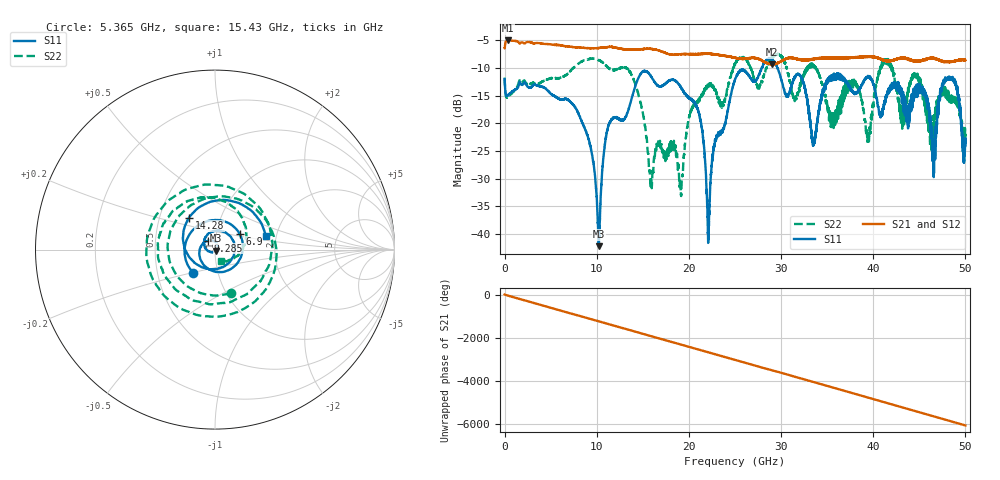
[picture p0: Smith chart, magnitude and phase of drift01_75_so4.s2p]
!Created with skrf (http://scikit-rf.org).
# Hz S RI R 50.0
!freq ReS11 ImS11 ReS21 ImS21 ReS12 ImS12 ReS22 ImS22
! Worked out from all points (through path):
!   10001 points, 300 kHz to 50 GHz, reference 50 ohm
!   highest |S21| = -5.05 dB at 325.3 MHz (marker M1); lowest = -9.4 dB at 28.97 GHz (marker M2)
!   group delay of S21, straight-line fit = 336 ps
!   lowest |S11| = -42.2 dB at 10.22 GHz (marker M3), VSWR 1.02, Z = 50.5 - j0.563 ohm
!   |S11| at or under -10 dB: start of sweep to 27.9 GHz; 29.59489 GHz to 29.59563 GHz (740.9 kHz wide, 0.0025 % of centre); 29.6 GHz to end of sweep
!   |S22| runs from -33.2 to -7.4 dB; largest |S21 - S12| = 0.016
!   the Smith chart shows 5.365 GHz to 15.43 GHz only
!   S11 on the Smith chart (normalised r, x): 5.365 GHz: 0.76, -0.20; 6.9 GHz: 1.29, +0.23; 9.285 GHz: 0.92, +0.09; 14.28 GHz: 0.71, +0.26; 15.43 GHz: 1.76, +0.28
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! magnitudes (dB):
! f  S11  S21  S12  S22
! 300 kHz  -12.1  -6.5  -6.6  -11.8
! 325.3 MHz  -15.0  -5.1  -5.1  -15.3
! 5.365 GHz  -15.0  -5.8  -5.8  -11.8
! 6.9 GHz  -15.8  -6.1  -6.1  -11.0
! 8.335 GHz  -19.5  -6.3  -6.3  -8.9
! 9.285 GHz  -24.0  -6.4  -6.4  -8.4
! 10.22 GHz  -42.2  -6.4  -6.4  -8.6
! 11.23 GHz  -20.7  -6.2  -6.2  -9.9
! 14.28 GHz  -12.8  -6.7  -6.7  -13.4
! 15.43 GHz  -10.7  -6.5  -6.6  -22.8
! 16.67 GHz  -13.3  -6.8  -6.8  -23.2
! 19.15 GHz  -13.5  -7.5  -7.5  -32.8
! 20.85 GHz  -17.0  -7.6  -7.5  -15.9
! 22.12 GHz  -40.7  -7.5  -7.5  -13.3
! 25 GHz  -12.1  -8.2  -8.2  -9.3
! 28.97 GHz  -8.4  -9.4  -9.3  -8.2
! 33.34 GHz  -22.6  -8.5  -8.4  -9.6
! 39.46 GHz  -11.6  -7.9  -8.0  -21.8
! 41.67 GHz  -13.8  -8.8  -8.7  -9.3
! 46.54 GHz  -25.4  -8.2  -8.2  -22.1
! 48.55 GHz  -11.7  -8.9  -8.9  -16.2
! 50 GHz  -23.2  -8.6  -8.6  -23.1
